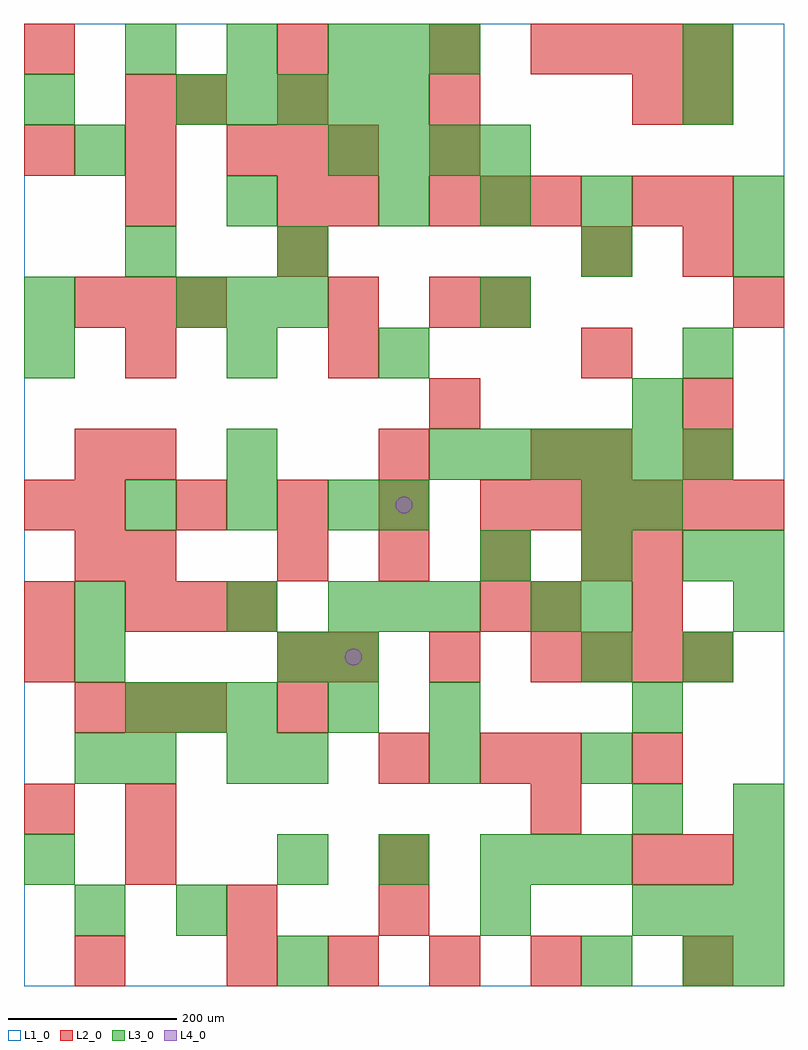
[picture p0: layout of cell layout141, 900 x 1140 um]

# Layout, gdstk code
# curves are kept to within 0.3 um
import gdstk
lib = gdstk.Library(unit=1e-6, precision=1e-09)
def R(c, l, rs):  # rectangles x0, y0, x1, y1
    for r in rs: c.add(gdstk.rectangle(r[:2], r[2:], *l))
def A(c, l, x, y, w, h, nx, ny, dx, dy):  # array of equal rectangles
    R(c, l, [(x+i*dx, y+j*dy, x+i*dx+w, y+j*dy+h) for i in range(nx) for j in range(ny)])
def P(c, l, *ps):  # polygons
    for p in ps: c.add(gdstk.Polygon(p, *l))
L1_0 = (1, 0)
L2_0 = (2, 0)
L3_0 = (3, 0)
L4_0 = (4, 0)

layout141 = lib.new_cell('layout141')
R(layout141, L1_0, [(0,0,900,1140)])
A(layout141, L2_0, 240, 0, 60, 60, 4, 1, 120, 0)
A(layout141, L2_0, 120, 120, 60, 60, 3, 1, 300, 0)
A(layout141, L2_0, 600, 240, 60, 60, 1, 3, 0, 180)
A(layout141, L2_0, 60, 300, 60, 60, 3, 2, 60, 480)
A(layout141, L2_0, 360, 360, 60, 60, 3, 1, 120, 0)
A(layout141, L2_0, 660, 360, 60, 60, 3, 1, 60, 0)
A(layout141, L2_0, 120, 420, 60, 60, 3, 1, 60, 0)
A(layout141, L2_0, 120, 480, 60, 60, 1, 3, 0, 120)
A(layout141, L2_0, 300, 480, 60, 60, 4, 1, 120, 0)
A(layout141, L2_0, 60, 540, 60, 60, 5, 1, 120, 0)
A(layout141, L2_0, 600, 540, 60, 60, 5, 1, 60, 0)
A(layout141, L2_0, 660, 600, 60, 60, 1, 3, 0, 120)
A(layout141, L2_0, 300, 840, 60, 60, 1, 5, 0, 60)
A(layout141, L2_0, 480, 900, 60, 60, 3, 1, 60, 0)
A(layout141, L2_0, 0, 960, 60, 60, 3, 1, 120, 0)
A(layout141, L2_0, 480, 960, 60, 60, 1, 3, 0, 60)
A(layout141, L2_0, 600, 1080, 60, 60, 4, 1, 60, 0)
R(layout141, L2_0, [(60,0,120,60), (780,0,840,60), (240,60,300,120), (420,60,480,120), (780,120,840,180), (0,180,60,240), (120,180,180,240), (600,180,660,240), (420,240,480,300), (540,240,600,300), (720,240,780,300), (300,300,360,360), (0,360,60,420), (300,360,360,420), (0,420,60,480), (540,420,600,480), (720,420,780,480), (60,480,120,540), (720,480,780,540), (0,540,60,600), (60,600,120,660), (420,600,480,660), (780,600,840,660), (480,660,540,720), (780,660,840,720), (360,720,420,780), (360,780,420,840), (480,780,540,840), (540,780,600,840), (840,780,900,840), (780,840,840,900), (120,900,180,960), (360,900,420,960), (720,900,780,960), (780,900,840,960), (360,960,420,1020), (120,1020,180,1080), (180,1020,240,1080), (720,1020,780,1080), (780,1020,840,1080), (0,1080,60,1140)])
A(layout141, L3_0, 780, 0, 60, 60, 1, 3, 0, 360)
A(layout141, L3_0, 720, 60, 60, 60, 3, 1, 60, 0)
A(layout141, L3_0, 300, 120, 60, 60, 3, 1, 120, 0)
A(layout141, L3_0, 240, 240, 60, 60, 1, 3, 0, 180)
A(layout141, L3_0, 300, 240, 60, 60, 3, 1, 180, 0)
A(layout141, L3_0, 120, 300, 60, 60, 3, 1, 60, 0)
A(layout141, L3_0, 360, 420, 60, 60, 3, 1, 60, 0)
A(layout141, L3_0, 540, 480, 60, 60, 3, 1, 120, 0)
A(layout141, L3_0, 120, 540, 60, 60, 3, 2, 120, 540)
A(layout141, L3_0, 480, 600, 60, 60, 6, 1, 60, 0)
A(layout141, L3_0, 180, 780, 60, 60, 3, 1, 60, 0)
A(layout141, L3_0, 420, 900, 60, 60, 3, 1, 120, 0)
A(layout141, L3_0, 360, 960, 60, 60, 4, 1, 60, 0)
A(layout141, L3_0, 180, 1020, 60, 60, 5, 1, 60, 0)
R(layout141, L3_0, [(300,0,360,60), (660,0,720,60), (840,0,900,60), (60,60,120,120), (180,60,240,120), (540,60,600,120), (0,120,60,180), (600,120,660,180), (660,120,720,180), (840,120,900,180), (720,180,780,240), (840,180,900,240), (60,240,120,300), (120,240,180,300), (360,300,420,360), (480,300,540,360), (720,300,780,360), (60,360,120,420), (300,360,360,420), (360,360,420,420), (660,360,720,420), (60,420,120,480), (600,420,660,480), (660,420,720,480), (840,420,900,480), (840,480,900,540), (420,540,480,600), (660,540,720,600), (720,540,780,600), (720,660,780,720), (0,720,60,780), (240,720,300,780), (420,720,480,780), (0,780,60,840), (540,780,600,840), (120,840,180,900), (300,840,360,900), (660,840,720,900), (840,840,900,900), (240,900,300,960), (840,900,900,960), (60,960,120,1020), (0,1020,60,1080), (780,1020,840,1080), (420,1080,480,1140), (480,1080,540,1140), (780,1080,840,1140)])
P(layout141, L4_0, [(400,390),(399.239,393.827),(397.071,397.071),(393.827,399.239),(390,400),(386.173,399.239),(382.929,397.071),(380.761,393.827),(380,390),(380.761,386.173),(382.929,382.929),(386.173,380.761),(390,380),(393.827,380.761),(397.071,382.929),(399.239,386.173)],
  [(460,570),(459.239,573.827),(457.071,577.071),(453.827,579.239),(450,580),(446.173,579.239),(442.929,577.071),(440.761,573.827),(440,570),(440.761,566.173),(442.929,562.929),(446.173,560.761),(450,560),(453.827,560.761),(457.071,562.929),(459.239,566.173)])

lib.write_gds('layout141.gds')
